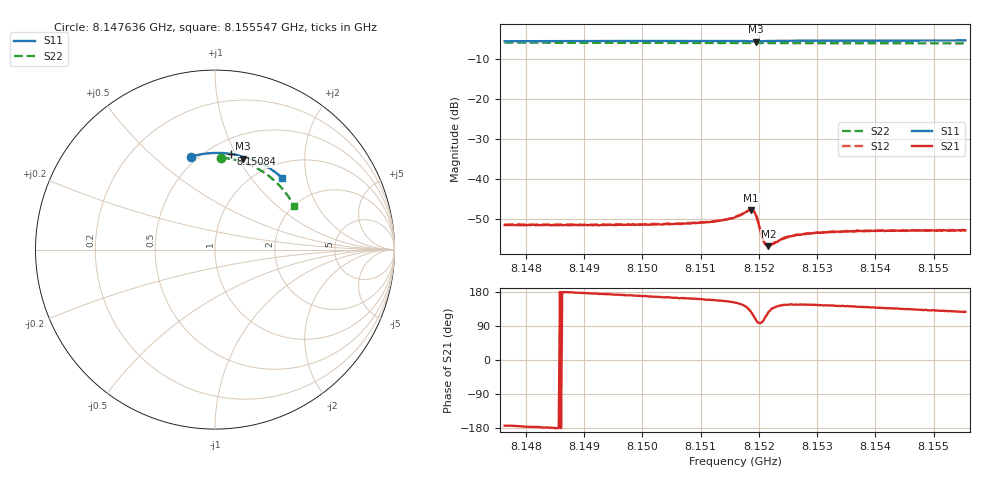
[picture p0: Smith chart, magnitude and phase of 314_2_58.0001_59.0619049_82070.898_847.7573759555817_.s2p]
#  HZ  S  RI  R  50.00
! Rohde & Schwarz Vector Network Analyzer
! Rohde-Schwarz,ZNB20-2Port,1311601062101988,3.16
! Created: UTC 3/21/2024, 1:04:19 AM
! freq[Hz]  re:S11  im:S11  re:S21  im:S21  re:S12  im:S12  re:S22  im:S22
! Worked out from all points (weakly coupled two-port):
!   401 points, 8.147636 GHz to 8.155547 GHz, reference 50 ohm
!   highest |S21| = -47.77 dB at 8.151868 GHz (marker M1); lowest = -56.9 dB at 8.152165 GHz (marker M2)
!   lowest |S11| = -5.5 dB at 8.151947 GHz (marker M3), VSWR 3.25, Z = 37.2 + j52.4 ohm
!   |S11| at or under -10 dB: nowhere
!   |S22| runs from -6.0 to -5.8 dB; largest |S21 - S12| = 0.00013
!   S11 on the Smith chart (normalised r, x): 8.147636 GHz: 0.46, +0.67; 8.15084 GHz: 0.63, +0.95; 8.155547 GHz: 1.27, +1.45
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8.1476357e9  -0.1345 0.518  -0.00261 -0.000311  -0.00267 -0.000285  0.0345 0.5126
8.1489608e9  -0.0438 0.5358  -0.00262 0.000143  -0.00264 0.000169  0.1197 0.4982
8.150286e9  0.0485 0.5375  -0.00261 0.000619  -0.00262 0.000657  0.2007 0.4698
8.1508398e9  0.0871 0.5336  -0.00264 0.000846  -0.00264 0.000931  0.2327 0.4539
8.1512749e9  0.1177 0.5281  -0.00272 0.00113  -0.00272 0.00117  0.2568 0.4398
8.1514529e9  0.1303 0.5252  -0.00281 0.00132  -0.0028 0.00135  0.2665 0.4338
8.1515913e9  0.1404 0.5221  -0.0029 0.00158  -0.00292 0.00162  0.2739 0.4287
8.1518682e9  0.1587 0.5094  -0.00243 0.00328  -0.00243 0.00331  0.2883 0.4185
8.1519078e9  0.1586 0.5069  -0.00179 0.00354  -0.00178 0.00359  0.2902 0.417
8.1519473e9  0.1574 0.506  -0.00103 0.00339  -0.000938 0.00345  0.2923 0.4155
8.1519869e9  0.1568 0.5074  -0.000449 0.00287  -0.00041 0.00289  0.294 0.414
8.1520462e9  0.1592 0.5103  -0.000313 0.00197  -0.000289 0.00197  0.2972 0.4121
8.1520858e9  0.1622 0.5115  -0.000444 0.00158  -0.000459 0.00155  0.2992 0.4105
8.1521253e9  0.1655 0.5122  -0.000655 0.00132  -0.000623 0.00134  0.3012 0.409
8.1521649e9  0.1689 0.5122  -0.00085 0.00115  -0.00081 0.00119  0.3033 0.4076
8.1522045e9  0.1721 0.512  -0.000998 0.00111  -0.000998 0.0011  0.3052 0.406
8.1524616e9  0.1915 0.5075  -0.00153 0.00102  -0.00153 0.00106  0.3181 0.3956
8.152778e9  0.2129 0.4998  -0.0017 0.00111  -0.00172 0.00113  0.3333 0.3823
8.1529165e9  0.2219 0.4962  -0.00173 0.00116  -0.0017 0.00124  0.3397 0.3763
8.1535494e9  0.262 0.4775  -0.00172 0.00136  -0.00171 0.00141  0.3676 0.3476
8.1542416e9  0.3035 0.4535  -0.00162 0.00152  -0.0016 0.00156  0.3953 0.3139
8.155547e9  0.3748 0.3988  -0.00137 0.0018  -0.00136 0.0018  0.4392 0.2447
